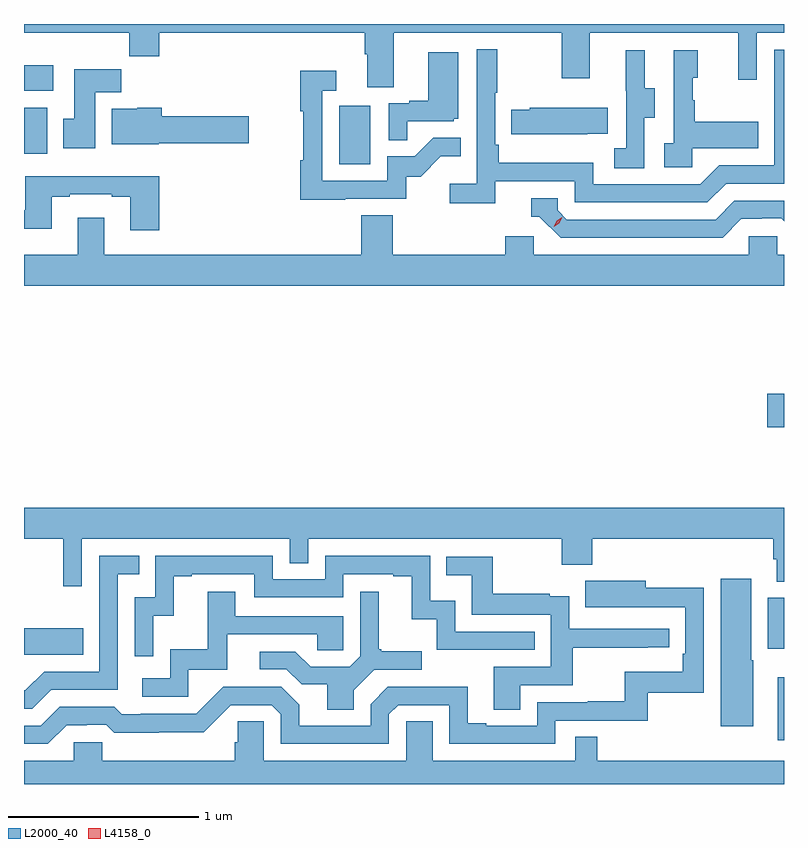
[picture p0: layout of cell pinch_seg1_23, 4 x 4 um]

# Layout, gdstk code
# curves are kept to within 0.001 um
import gdstk
lib = gdstk.Library(unit=1e-6, precision=1e-09)
def R(c, l, rs):  # rectangles x0, y0, x1, y1
    for r in rs: c.add(gdstk.rectangle(r[:2], r[2:], *l))
def P(c, l, *ps):  # polygons
    for p in ps: c.add(gdstk.Polygon(p, *l))
L2000_40 = (2000, 40)
L4158_0 = (4158, 0)

pinch_seg1_23 = lib.new_cell('pinch_seg1_23')
R(pinch_seg1_23, L2000_40, [(1130.886,575.979,1130.919,576.313), (1126.919,576.431,1127.231,576.571), (1130.834,576.461,1130.919,576.73), (1130.832,577.627,1130.919,577.805), (1128.578,579.012,1128.742,579.319), (1126.919,579.068,1127.041,579.31), (1126.919,579.398,1127.074,579.532)])
P(pinch_seg1_23, L2000_40, [(1128.865,579.704),(1129.75,579.704),(1129.75,579.465),(1129.897,579.465),(1129.897,579.704),(1130.678,579.704),(1130.678,579.456),(1130.775,579.456),(1130.775,579.704),(1130.919,579.704),(1130.919,579.75),(1126.919,579.75),(1126.919,579.704),(1127.473,579.704),(1127.473,579.58),(1127.63,579.58),(1127.63,579.704),(1128.713,579.704),(1128.713,579.592),(1128.725,579.592),(1128.725,579.418),(1128.865,579.418)],
  [(1129.4,578.922),(1129.818,578.922),(1129.818,578.811),(1130.515,578.811),(1130.614,578.91),(1130.919,578.91),(1130.919,579.615),(1130.868,579.615),(1130.868,579.006),(1130.577,579.006),(1130.478,578.907),(1129.914,578.907),(1129.914,579.019),(1129.418,579.019),(1129.418,579.115),(1129.398,579.115),(1129.398,579.388),(1129.411,579.388),(1129.411,579.616),(1129.302,579.616),(1129.302,578.908),(1129.161,578.908),(1129.161,578.806),(1129.4,578.806)],
  [(1130.184,579.256),(1130.239,579.256),(1130.239,579.411),(1130.185,579.411),(1130.185,579.613),(1130.087,579.613),(1130.087,579.399),(1130.088,579.399),(1130.088,579.095),(1130.025,579.095),(1130.025,578.992),(1130.184,578.992)],
  [(1130.436,579.095),(1130.783,579.095),(1130.783,579.235),(1130.449,579.235),(1130.449,579.35),(1130.439,579.35),(1130.439,579.468),(1130.464,579.468),(1130.464,579.613),(1130.34,579.613),(1130.34,579.122),(1130.289,579.122),(1130.289,578.997),(1130.436,578.997)],
  [(1128.935,579.237),(1129.182,579.237),(1129.182,579.252),(1129.204,579.252),(1129.204,579.601),(1129.046,579.601),(1129.046,579.346),(1128.947,579.346),(1128.947,579.333),(1128.84,579.333),(1128.84,579.139),(1128.935,579.139)],
  [(1127.293,579.392),(1127.432,579.392),(1127.432,579.511),(1127.183,579.511),(1127.183,579.252),(1127.126,579.252),(1127.126,579.096),(1127.293,579.096)],
  [(1128.611,578.829),(1128.93,578.829),(1128.93,578.946),(1129.006,578.946),(1129.113,579.053),(1129.217,579.053),(1129.217,579.152),(1129.073,579.152),(1128.975,579.054),(1128.831,579.054),(1128.831,578.925),(1128.489,578.925),(1128.489,579.399),(1128.562,579.399),(1128.562,579.505),(1128.373,579.505),(1128.373,579.292),(1128.388,579.292),(1128.388,579.032),(1128.373,579.032),(1128.373,578.824),(1128.611,578.824)],
  [(1127.628,579.122),(1128.103,579.122),(1128.103,579.264),(1127.645,579.264),(1127.645,579.31),(1127.514,579.31),(1127.514,579.304),(1127.381,579.304),(1127.381,579.116),(1127.628,579.116)],
  [(1129.883,579.173),(1129.991,579.173),(1129.991,579.31),(1129.581,579.31),(1129.581,579.3),(1129.483,579.3),(1129.483,579.17),(1129.883,579.17)],
  [(1127.63,578.95),(1126.925,578.95),(1126.925,578.769),(1126.919,578.769),(1126.919,578.672),(1127.065,578.672),(1127.065,578.841),(1127.161,578.841),(1127.161,578.853),(1127.381,578.853),(1127.381,578.841),(1127.477,578.841),(1127.477,578.664),(1127.63,578.664)],
  [(1130.695,578.724),(1130.802,578.724),(1130.802,578.727),(1130.905,578.727),(1130.919,578.713),(1130.919,578.82),(1130.658,578.82),(1130.559,578.721),(1129.776,578.721),(1129.728,578.769),(1129.728,578.832),(1129.589,578.832),(1129.589,578.736),(1129.632,578.736),(1129.743,578.625),(1130.596,578.625)],
  [(1130.919,578.536),(1130.883,578.536),(1130.883,578.634),(1130.733,578.634),(1130.733,578.536),(1129.602,578.536),(1129.602,578.634),(1129.451,578.634),(1129.451,578.536),(1128.86,578.536),(1128.86,578.744),(1128.695,578.744),(1128.695,578.536),(1127.341,578.536),(1127.341,578.731),(1127.201,578.731),(1127.201,578.536),(1126.919,578.536),(1126.919,578.372),(1130.919,578.372)],
  [(1127.223,577.04),(1128.318,577.04),(1128.318,576.913),(1128.414,576.913),(1128.414,577.04),(1129.75,577.04),(1129.75,576.905),(1129.91,576.905),(1129.91,577.04),(1130.863,577.04),(1130.863,576.933),(1130.882,576.933),(1130.882,576.815),(1130.919,576.815),(1130.919,577.204),(1126.919,577.204),(1126.919,577.04),(1127.126,577.04),(1127.126,576.792),(1127.223,576.792)],
  [(1127.598,576.635),(1127.708,576.635),(1127.708,576.843),(1127.803,576.843),(1127.803,576.855),(1128.132,576.855),(1128.132,576.732),(1128.6,576.732),(1128.6,576.855),(1128.863,576.855),(1128.863,576.843),(1128.959,576.843),(1128.959,576.617),(1129.092,576.617),(1129.092,576.456),(1129.607,576.456),(1129.607,576.552),(1129.188,576.552),(1129.188,576.715),(1129.056,576.715),(1129.056,576.951),(1128.504,576.951),(1128.504,576.828),(1128.228,576.828),(1128.228,576.951),(1127.61,576.951),(1127.61,576.732),(1127.502,576.732),(1127.502,576.423),(1127.598,576.423)],
  [(1127.062,576.246),(1127.412,576.246),(1127.412,576.855),(1127.525,576.855),(1127.525,576.951),(1127.316,576.951),(1127.316,576.342),(1127.025,576.342),(1126.926,576.243),(1126.919,576.243),(1126.919,576.147),(1126.963,576.147)],
  [(1129.531,576.27),(1129.808,576.27),(1129.808,576.466),(1130.201,576.466),(1130.201,576.471),(1130.314,576.471),(1130.314,576.567),(1129.788,576.567),(1129.788,576.739),(1129.685,576.739),(1129.685,576.751),(1129.387,576.751),(1129.387,576.945),(1129.141,576.945),(1129.141,576.848),(1129.276,576.848),(1129.276,576.642),(1129.692,576.642),(1129.692,576.366),(1129.391,576.366),(1129.391,576.142),(1129.531,576.142)],
  [(1130.758,576.402),(1130.746,576.402),(1130.746,576.829),(1130.585,576.829),(1130.585,576.054),(1130.758,576.054)],
  [(1127.143,576.06),(1127.25,576.06),(1127.25,576.063),(1127.353,576.063),(1127.395,576.021),(1127.628,576.021),(1127.628,576.023),(1127.864,576.023),(1128.006,576.165),(1128.222,576.165),(1128.27,576.117),(1128.27,575.961),(1128.84,575.961),(1128.84,576.117),(1128.888,576.165),(1129.158,576.165),(1129.158,575.961),(1129.716,575.961),(1129.716,576.084),(1130.203,576.084),(1130.203,576.231),(1130.496,576.231),(1130.496,576.782),(1130.191,576.782),(1130.191,576.82),(1129.873,576.82),(1129.873,576.68),(1130.4,576.681),(1130.4,576.436),(1130.387,576.436),(1130.387,576.34),(1130.082,576.34),(1130.082,576.185),(1129.885,576.185),(1129.885,576.18),(1129.62,576.18),(1129.62,576.057),(1129.351,576.057),(1129.351,576.07),(1129.255,576.07),(1129.255,576.263),(1129.05,576.263),(1129.05,576.261),(1128.834,576.261),(1128.744,576.171),(1128.744,576.057),(1128.367,576.057),(1128.367,576.167),(1128.273,576.261),(1127.967,576.261),(1127.826,576.12),(1127.533,576.12),(1127.533,576.117),(1127.434,576.117),(1127.395,576.156),(1127.106,576.156),(1127.007,576.057),(1126.919,576.057),(1126.919,575.961),(1127.044,575.961)],
  [(1127.784,576.351),(1127.989,576.351),(1127.989,576.537),(1128.463,576.537),(1128.463,576.453),(1128.6,576.453),(1128.6,576.633),(1128.031,576.633),(1128.031,576.763),(1127.887,576.763),(1127.887,576.46),(1127.688,576.46),(1127.688,576.306),(1127.541,576.306),(1127.541,576.21),(1127.784,576.21)],
  [(1128.655,576.244),(1128.762,576.351),(1129.012,576.351),(1129.012,576.448),(1128.799,576.448),(1128.799,576.46),(1128.787,576.46),(1128.787,576.763),(1128.69,576.763),(1128.69,576.423),(1128.633,576.366),(1128.427,576.366),(1128.346,576.447),(1128.159,576.447),(1128.159,576.354),(1128.3,576.354),(1128.38,576.274),(1128.515,576.274),(1128.515,576.142),(1128.655,576.142)],
  [(1130.919,575.872),(1129.937,575.872),(1129.937,575.999),(1129.821,575.999),(1129.821,575.872),(1129.069,575.872),(1129.069,576.08),(1128.93,576.08),(1128.93,575.872),(1128.18,575.872),(1128.18,576.08),(1128.043,576.08),(1128.043,575.97),(1128.029,575.97),(1128.029,575.872),(1127.331,575.872),(1127.331,575.97),(1127.181,575.97),(1127.181,575.872),(1126.919,575.872),(1126.919,575.75),(1130.919,575.75)])
P(pinch_seg1_23, L4158_0, [(1129.706,578.682),(1129.706,578.682),(1129.722,578.715),(1129.752,578.734),(1129.753,578.734),(1129.753,578.734),(1129.737,578.702),(1129.707,578.682)])

lib.write_gds('pinch_seg1_23.gds')
